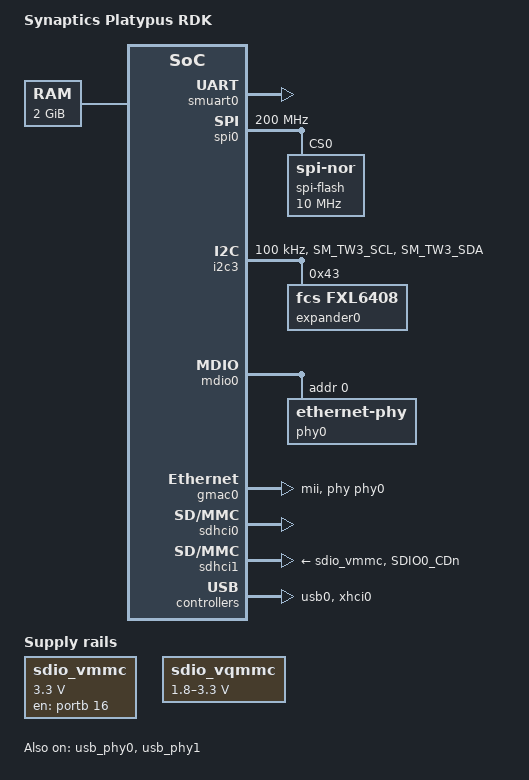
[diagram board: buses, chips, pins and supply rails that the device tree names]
// SPDX-License-Identifier: GPL-2.0+
/*
 * Copyright (C) 2016~2023 Synaptics Incorporated. All rights reserved.
 *
 * This program is free software; you can redistribute it and/or modify
 * it under the terms of the GNU General Public License version 2 or
 * later as published by the Free Software Foundation.
 *
 * INFORMATION CONTAINED IN THIS DOCUMENT IS PROVIDED "AS-IS," AND
 * SYNAPTICS EXPRESSLY DISCLAIMS ALL EXPRESS AND IMPLIED WARRANTIES,
 * INCLUDING ANY IMPLIED WARRANTIES OF MERCHANTABILITY AND FITNESS FOR
 * A PARTICULAR PURPOSE, AND ANY WARRANTIES OF NON-INFRINGEMENT OF ANY
 * INTELLECTUAL PROPERTY RIGHTS. IN NO EVENT SHALL SYNAPTICS BE LIABLE
 * FOR ANY DIRECT, INDIRECT, INCIDENTAL, SPECIAL, PUNITIVE, OR
 * CONSEQUENTIAL DAMAGES ARISING OUT OF OR IN CONNECTION WITH THE USE
 * OF THE INFORMATION CONTAINED IN THIS DOCUMENT, HOWEVER CAUSED AND
 * BASED ON ANY THEORY OF LIABILITY, WHETHER IN AN ACTION OF CONTRACT,
 * NEGLIGENCE OR OTHER TORTIOUS ACTION, AND EVEN IF SYNAPTICS WAS
 * ADVISED OF THE POSSIBILITY OF SUCH DAMAGE. IF A TRIBUNAL OF
 * COMPETENT JURISDICTION DOES NOT PERMIT THE DISCLAIMER OF DIRECT
 * DAMAGES OR ANY OTHER DAMAGES, SYNAPTICS' TOTAL CUMULATIVE LIABILITY
 * TO ANY PARTY SHALL NOT EXCEED ONE HUNDRED U.S. DOLLARS.
 */

/dts-v1/;

#include "platypus.dtsi"
#include <dt-bindings/gpio/gpio.h>

/ {
	model = "Synaptics Platypus RDK";
	compatible = "Synaptics,platypus", "Synaptics,asserial";

	memory {
		device_type = "memory";
		reg = <0 0 0 0x80000000>;
	};

	chosen {
		stdout-path = &smuart0;
	};

	regulators {
		compatible = "simple-bus";
		#address-cells = <1>;
		#size-cells = <0>;

		sdio_vmmc: sdio_vmmc {
			compatible = "regulator-fixed";
			pinctrl-0 = <&sdio_vmmc_pmux>;
			pinctrl-names = "default";
			regulator-min-microvolt = <3300000>;
			regulator-max-microvolt = <3300000>;
			regulator-name = "vmmc_sdio";
			enable-active-high;
			gpio = <&portb 16 GPIO_ACTIVE_HIGH>;
		};

		sdio_vqmmc: sdio_vqmmc {
			compatible = "regulator-gpio";
			pinctrl-0 = <&sdio_vqmmc_pmux>;
			pinctrl-names = "default";
			regulator-min-microvolt = <1800000>;
			regulator-max-microvolt = <3300000>;
			regulator-name = "vqmmc_sdio";
			regulator-type = "voltage";
			states = <1800000 0x0 3300000 0x1>;
			gpios = <&porta 17 GPIO_ACTIVE_HIGH>;
		};
	};
};

&pinctrl {
	sdio_pmux: sdio_pmux{
		groups = "SDIO0_CDn";
		function = "sdio";
	};

	sdio_vmmc_pmux: sdio_vmmc_pmux{
		groups = "SDIO0_WP";
		function = "gpio";
	};

	sdio_vqmmc_pmux: sdio_vqmmc_pmux{
		groups = "I2S1_DO1";
		function = "gpio";
	};
};

&sysmgr_pinctrl {
	sm_i2c_tw3_pmux: sm_i2c_tw3_pmux {
		groups = "SM_TW3_SCL", "SM_TW3_SDA";
		function = "tw3";
	};
};

&CPU_SLEEP_0 {
	status = "disabled";
};

&smuart0 {
	status = "okay";
};

&spi0 {
	status = "okay";
	max-write-size = <128>;
	clock-frequency = <200000000>;
	spi-flash@0 {
		#address-cells = <1>;
		#size-cells = <1>;
		compatible = "jedec,spi-nor";
		reg = <0>;
		memory-map = <0x0 0xf0000000 0x0 0x4000000>;
		spi-max-frequency = <10000000>;
	};
};

&i2c3 {
	status = "okay";
	pinctrl-names = "default";
	pinctrl-0 = <&sm_i2c_tw3_pmux>;
	clock-frequency = <100000>;
	i2c-sda-hold-time-ns = <449>;
	i2c-scl-rising-time-ns = <120>;
	i2c-scl-falling-time-ns = <20>;

	expander0: gpio@43 {
		compatible = "fcs,fxl6408";
		reg = <0x43>;
		gpio-controller;
		#gpio-cells = <2>;
	};
};

&mdio0 {
	phy0: ethernet-phy@0 {
		reg = <0>;
	};
};

&gmac0 {
	status = "okay";
	max-speed = <100>;
	phy-mode = "mii";
	phy-handle = <&phy0>;
	phy = <&phy0>;
};

&sdhci0 {
	status = "okay";
	mmc-ddr-1_8v;
	mmc-hs200-1_8v;
	mmc-hs400-1_8v;
	fixed-voltage;
};

&sdhci1 {
	status="okay";
	pinctrl-0 = <&sdio_pmux>;
	pinctrl-names = "default";
	cap-sd-highspeed;
	sd-uhs-sdr12;
	sd-uhs-sdr25;
	sd-uhs-sdr50;
	sd-uhs-sdr104;
	fixed-voltage;
	vmmc-supply = <&sdio_vmmc>;
	vqmmc-supply = <&sdio_vqmmc>;
};

&usb_phy0 {
	status = "okay";
};

&usb0 {
	status = "okay";
};

&usb_phy1 {
	status = "okay";
};

&xhci0 {
	status = "okay";
};

